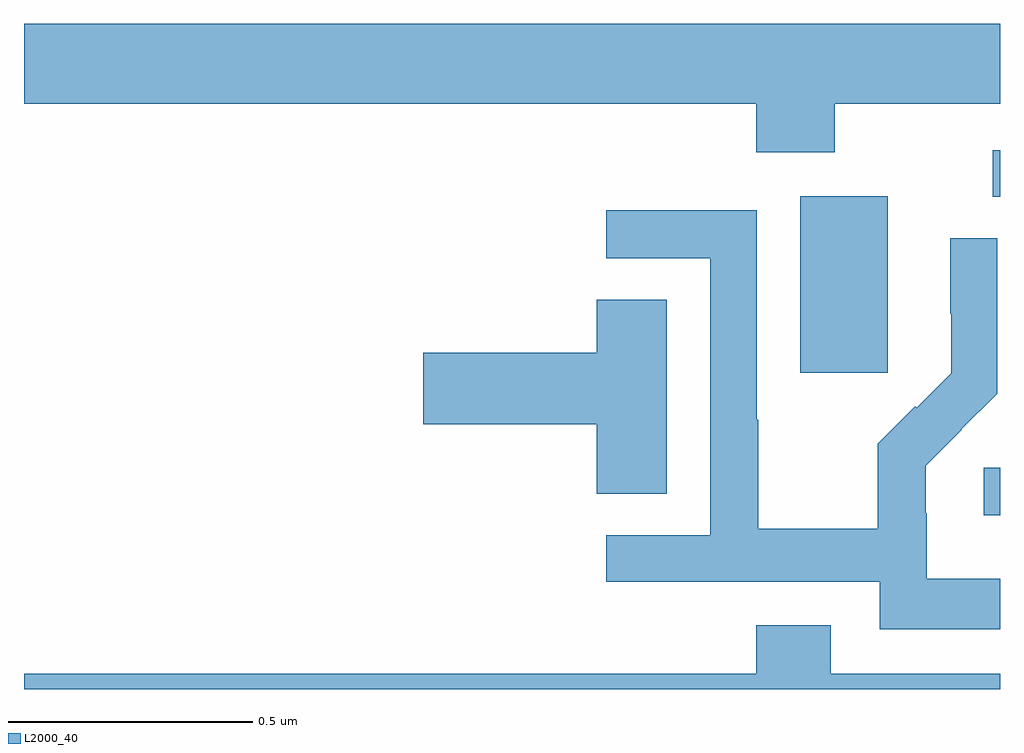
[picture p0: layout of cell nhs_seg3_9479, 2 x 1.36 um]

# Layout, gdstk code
import gdstk
lib = gdstk.Library(unit=1e-6, precision=1e-09)
def R(c, l, rs):  # rectangles x0, y0, x1, y1
    for r in rs: c.add(gdstk.rectangle(r[:2], r[2:], *l))
def P(c, l, *ps):  # polygons
    for p in ps: c.add(gdstk.Polygon(p, *l))
L2000_40 = (2000, 40)

nhs_seg3_9479 = lib.new_cell('nhs_seg3_9479')
R(nhs_seg3_9479, L2000_40, [(230.967,682.757,231,682.854), (230.591,683.049,230.77,683.41), (230.985,683.409,231,683.505)])
P(nhs_seg3_9479, L2000_40, [(230.661,683.6),(231,683.6),(231,683.764),(229,683.764),(229,683.6),(230.501,683.6),(230.501,683.501),(230.661,683.501)],
  [(231,682.627),(230.85,682.627),(230.85,682.761),(230.848,682.761),(230.848,682.858),(230.922,682.932),(230.921,682.933),(230.994,683.006),(230.994,683.324),(230.898,683.324),(230.898,683.17),(230.9,683.17),(230.9,683.048),(230.829,682.977),(230.826,682.98),(230.749,682.903),(230.749,682.729),(230.505,682.729),(230.505,682.952),(230.502,682.952),(230.502,683.382),(230.193,683.382),(230.193,683.283),(230.406,683.283),(230.406,682.716),(230.193,682.716),(230.193,682.62),(230.754,682.62),(230.754,682.523),(231,682.523)],
  [(230.317,683.198),(230.174,683.198),(230.174,683.09),(229.818,683.09),(229.818,682.943),(230.174,682.943),(230.174,682.801),(230.317,682.801)],
  [(231,682.432),(230.653,682.432),(230.653,682.531),(230.501,682.531),(230.501,682.432),(229,682.432),(229,682.4),(231,682.4)])

lib.write_gds('nhs_seg3_9479.gds')
